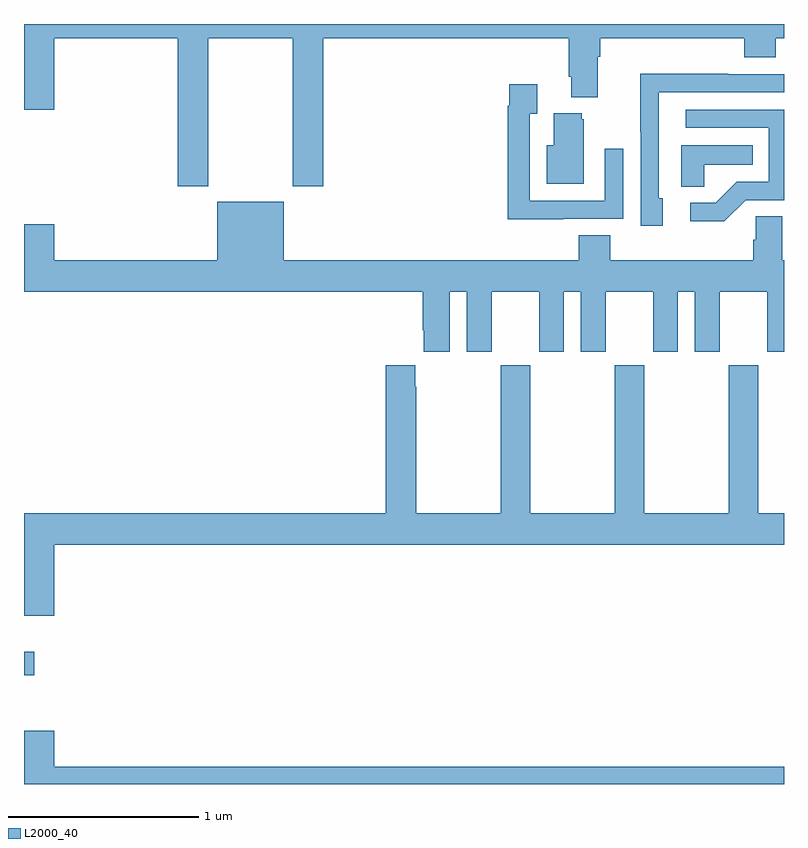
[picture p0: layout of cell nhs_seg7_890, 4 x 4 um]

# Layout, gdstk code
import gdstk
lib = gdstk.Library(unit=1e-6, precision=1e-09)
def R(c, l, rs):  # rectangles x0, y0, x1, y1
    for r in rs: c.add(gdstk.rectangle(r[:2], r[2:], *l))
def P(c, l, *ps):  # polygons
    for p in ps: c.add(gdstk.Polygon(p, *l))
L2000_40 = (2000, 40)

nhs_seg7_890 = lib.new_cell('nhs_seg7_890')
R(nhs_seg7_890, L2000_40, [(177,1022.573,177.055,1022.695)])
P(nhs_seg7_890, L2000_40, [(177.969,1025.924),(178.414,1025.924),(178.414,1025.145),(178.574,1025.145),(178.574,1025.924),(179.867,1025.924),(179.867,1025.722),(179.879,1025.722),(179.879,1025.615),(180.019,1025.615),(180.019,1025.828),(180.032,1025.828),(180.032,1025.924),(180.791,1025.924),(180.791,1025.825),(180.956,1025.825),(180.956,1025.924),(181,1025.924),(181,1026),(177,1026),(177,1025.55),(177.16,1025.55),(177.16,1025.924),(177.809,1025.924),(177.809,1025.145),(177.969,1025.145)],
  [(180.361,1025.082),(180.342,1025.082),(180.342,1025.64),(181,1025.64),(181,1025.736),(180.707,1025.736),(180.707,1025.738),(180.244,1025.738),(180.244,1025.431),(180.246,1025.431),(180.246,1024.938),(180.361,1024.938)],
  [(179.837,1024.974),(180.153,1024.974),(180.153,1025.344),(180.057,1025.344),(180.057,1025.07),(179.661,1025.07),(179.661,1025.527),(179.701,1025.527),(179.701,1025.683),(179.553,1025.683),(179.553,1025.57),(179.545,1025.57),(179.545,1024.973),(179.837,1024.973)],
  [(180.798,1025.073),(181,1025.073),(181,1025.55),(180.483,1025.55),(180.483,1025.454),(180.921,1025.454),(180.921,1025.169),(180.752,1025.169),(180.641,1025.058),(180.507,1025.058),(180.507,1024.961),(180.685,1024.961)],
  [(179.947,1025.499),(179.936,1025.499),(179.936,1025.53),(179.789,1025.53),(179.789,1025.362),(179.75,1025.362),(179.75,1025.159),(179.947,1025.159)],
  [(180.579,1025.258),(180.836,1025.258),(180.836,1025.362),(180.458,1025.362),(180.458,1025.143),(180.579,1025.143)],
  [(179.242,1024.592),(179.33,1024.592),(179.33,1024.275),(179.461,1024.275),(179.461,1024.592),(179.711,1024.592),(179.711,1024.275),(179.842,1024.275),(179.842,1024.592),(179.93,1024.592),(179.93,1024.275),(180.061,1024.275),(180.061,1024.592),(180.311,1024.592),(180.311,1024.275),(180.442,1024.275),(180.442,1024.592),(180.53,1024.592),(180.53,1024.275),(180.661,1024.275),(180.661,1024.592),(180.911,1024.592),(180.911,1024.275),(181,1024.275),(181,1024.756),(180.991,1024.756),(180.991,1024.988),(180.852,1024.988),(180.852,1024.865),(180.839,1024.865),(180.839,1024.756),(180.086,1024.756),(180.086,1024.889),(179.921,1024.889),(179.921,1024.756),(178.366,1024.756),(178.366,1025.065),(178.016,1025.065),(178.016,1024.756),(177.16,1024.756),(177.16,1024.945),(177,1024.945),(177,1024.592),(179.099,1024.592),(179.099,1024.387),(179.105,1024.387),(179.105,1024.275),(179.242,1024.275)],
  [(177.16,1023.26),(181,1023.26),(181,1023.424),(180.864,1023.424),(180.864,1024.204),(180.709,1024.204),(180.709,1023.424),(180.264,1023.424),(180.264,1024.204),(180.109,1024.204),(180.109,1023.424),(179.664,1023.424),(179.664,1024.204),(179.509,1024.204),(179.509,1023.424),(179.064,1023.424),(179.064,1024.091),(179.059,1024.091),(179.059,1024.204),(178.904,1024.204),(178.904,1023.424),(177,1023.424),(177,1022.886),(177.16,1022.886)],
  [(181,1022.092),(177.16,1022.092),(177.16,1022.281),(177,1022.281),(177,1022),(181,1022)])

lib.write_gds('nhs_seg7_890.gds')
